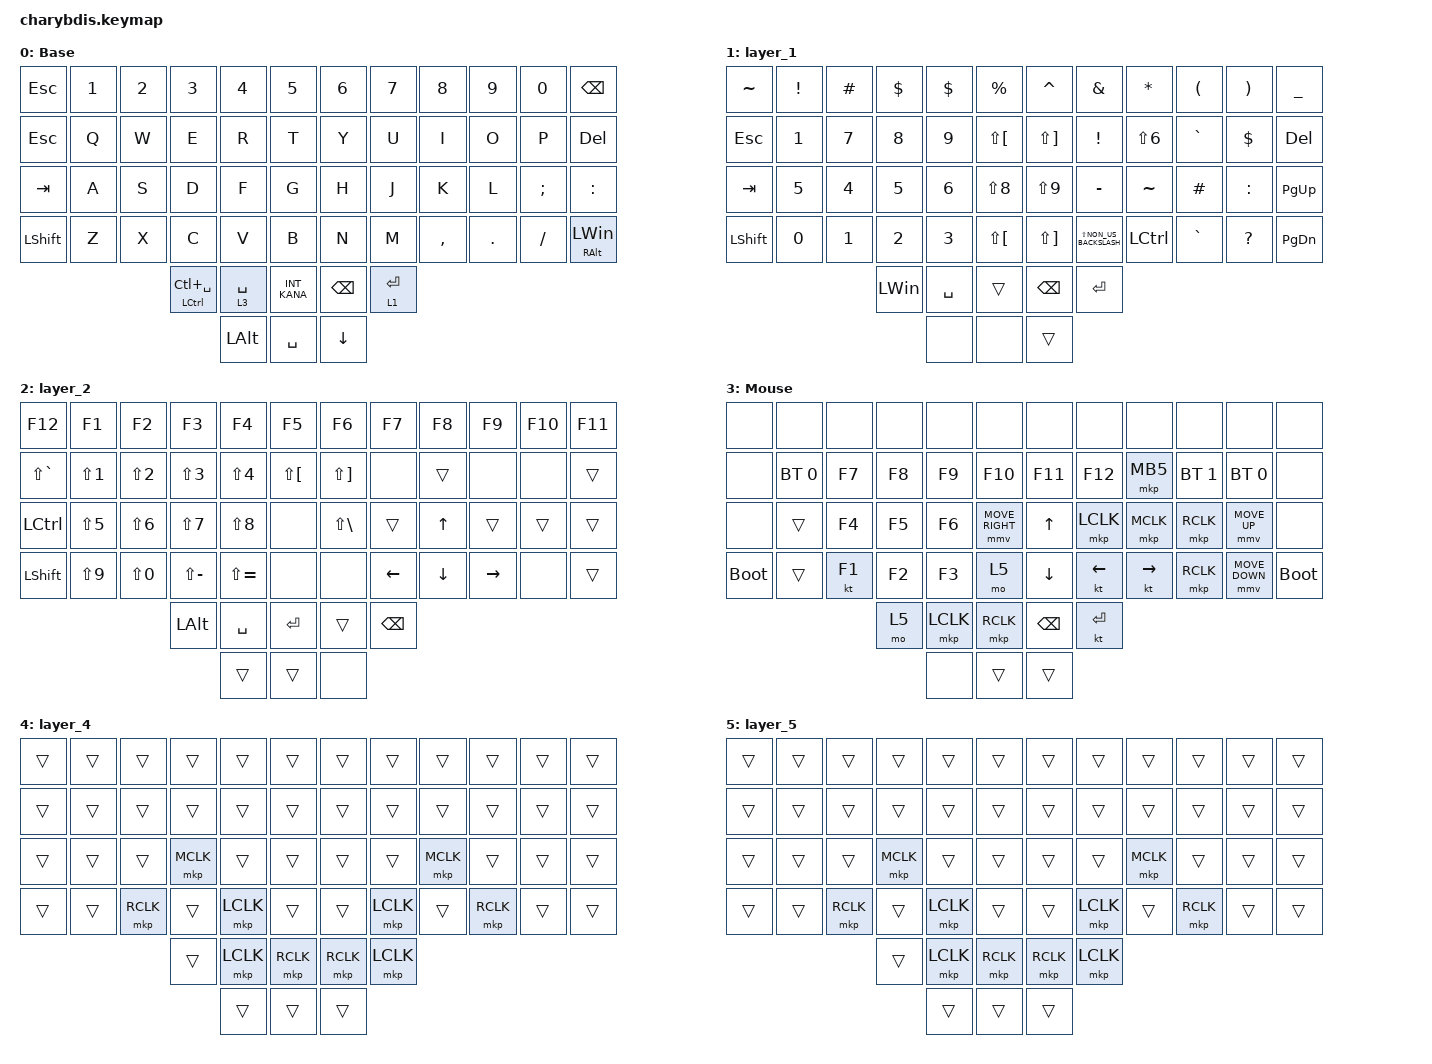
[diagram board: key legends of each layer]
#include <dt-bindings/zmk/mouse.h>
#include <behaviors.dtsi>
#include <dt-bindings/zmk/bt.h>
#include <dt-bindings/zmk/keys.h>

#define ZMK_POINTING_DEFAULT_MOVE_VAL 9000  // default: 600

&lt {
    tapping-term-ms = <200>;
    flavor = "balanced";
    quick-tap-ms = <150>;
};

/ {
    combos {
        compatible = "zmk,combos";

        escc {
            bindings = <&kp ESC>;
            key-positions = <17 18>;
            layers = <0>;
        };
    };

    keymap {
        compatible = "zmk,keymap";

        Base {
            bindings = <
&kp ESC         &kp N1  &kp N2  &kp N3               &kp N4        &kp N5          &kp N6          &kp N7       &kp N8     &kp N9   &kp N0     &kp BSPC
&kp ESCAPE      &kp Q   &kp W   &kp E                &kp R         &kp T           &kp Y           &kp U        &kp I      &kp O    &kp P      &kp DEL
&kp TAB         &kp A   &kp S   &kp D                &kp F         &kp G           &kp H           &kp J        &kp K      &kp L    &kp SEMI   &kp COLON
&kp LEFT_SHIFT  &kp Z   &kp X   &kp C                &kp V         &kp B           &kp N           &kp M        &kp COMMA  &kp DOT  &kp SLASH  &mt RIGHT_ALT LEFT_WIN
                                &mt LCTRL LC(SPACE)  &lt 3 SPACE   &kp INT_KANA    &kp BACKSPACE   &lt 1 ENTER
                                                     &kp LEFT_ALT  &kp SPACE       &kp DOWN_ARROW
            >;

            trackball-bindings = <&tmv_coarse>;
        };

        layer_1 {
            bindings = <
&kp TILDE   &kp EXCLAMATION  &kp HASH      &kp DOLLAR    &kp DOLLAR    &kp PERCENT             &kp CARET              &kp AMPERSAND             &kp ASTERISK      &kp LEFT_PARENTHESIS  &kp RIGHT_PARENTHESIS  &kp UNDERSCORE
&kp ESCAPE  &kp NUMBER_1     &kp NUMBER_7  &kp NUMBER_8  &kp NUMBER_9  &kp LS(LBKT)            &kp LS(RBKT)           &kp EXCLAMATION           &kp LS(NUMBER_6)  &kp GRAVE             &kp DOLLAR             &kp DEL
&kp TAB     &kp NUMBER_5     &kp NUMBER_4  &kp NUMBER_5  &kp NUMBER_6  &kp LS(N8)              &kp LS(NUMBER_9)       &kp MINUS                 &kp TILDE         &kp HASH              &kp COLON              &kp PAGE_UP
&kp LSHFT   &kp N0           &kp NUMBER_1  &kp NUMBER_2  &kp NUMBER_3  &kp LS(LEFT_BRACKET)    &kp LS(RIGHT_BRACKET)  &kp LS(NON_US_BACKSLASH)  &kp LCTRL         &kp GRAVE             &kp QUESTION           &kp PAGE_DOWN
                                           &kp LEFT_WIN  &kp SPACE     &trans                  &kp BACKSPACE          &kp ENTER
                                                         &none         &none                   &trans
            >;
        };

        layer_2 {
            bindings = <
&kp F12           &kp F1      &kp F2      &kp F3         &kp F4         &kp F5          &kp F6        &kp F7         &kp F8    &kp F9     &kp F10  &kp F11
&kp LS(GRAVE)     &kp LS(N1)  &kp LS(N2)  &kp LS(N3)     &kp LS(N4)     &kp LS(LBKT)    &kp LS(RBKT)  &none          &trans    &none      &none    &trans
&kp LEFT_CONTROL  &kp LS(N5)  &kp LS(N6)  &kp LS(N7)     &kp LS(N8)     &none           &kp LS(BSLH)  &trans         &kp UP    &trans     &trans   &trans
&kp LEFT_SHIFT    &kp LS(N9)  &kp LS(N0)  &kp LS(MINUS)  &kp LS(EQUAL)  &none           &none         &kp LEFT       &kp DOWN  &kp RIGHT  &none    &trans
                                          &kp LEFT_ALT   &kp SPACE      &kp ENTER       &trans        &kp BACKSPACE
                                                         &trans         &trans          &none
            >;
        };

        Mouse {
            bindings = <
&none        &none         &none   &none   &none      &none              &none          &none      &none      &none         &none           &none
&none        &bt BT_SEL 0  &kp F7  &kp F8  &kp F9     &kp F10            &kp F11        &kp F12    &mkp MB5   &bt BT_SEL 1  &bt BT_SEL 0    &none
&none        &trans        &kp F4  &kp F5  &kp F6     &mmv MOVE_RIGHT    &kp UP         &mkp LCLK  &mkp MCLK  &mkp RCLK     &mmv MOVE_UP    &none
&bootloader  &trans        &kt F1  &kp F2  &kp F3     &mo 5              &kp DOWN       &kt LEFT   &kt RIGHT  &mkp RCLK     &mmv MOVE_DOWN  &bootloader
                                   &mo 5   &mkp LCLK  &mkp RCLK          &kp BACKSPACE  &kt ENTER
                                           &none      &trans             &trans
            >;
        };

        layer_4 {
            bindings = <
&trans  &trans  &trans     &trans     &trans     &trans       &trans     &trans     &trans     &trans     &trans  &trans
&trans  &trans  &trans     &trans     &trans     &trans       &trans     &trans     &trans     &trans     &trans  &trans
&trans  &trans  &trans     &mkp MCLK  &trans     &trans       &trans     &trans     &mkp MCLK  &trans     &trans  &trans
&trans  &trans  &mkp RCLK  &trans     &mkp LCLK  &trans       &trans     &mkp LCLK  &trans     &mkp RCLK  &trans  &trans
                           &trans     &mkp LCLK  &mkp RCLK    &mkp RCLK  &mkp LCLK
                                      &trans     &trans       &trans
            >;

            trackball-bindings = <&tsl>;//滚轮层
        };

        layer_5 {
            bindings = <
&trans  &trans  &trans     &trans     &trans     &trans       &trans     &trans     &trans     &trans     &trans  &trans
&trans  &trans  &trans     &trans     &trans     &trans       &trans     &trans     &trans     &trans     &trans  &trans
&trans  &trans  &trans     &mkp MCLK  &trans     &trans       &trans     &trans     &mkp MCLK  &trans     &trans  &trans
&trans  &trans  &mkp RCLK  &trans     &mkp LCLK  &trans       &trans     &mkp LCLK  &trans     &mkp RCLK  &trans  &trans
                           &trans     &mkp LCLK  &mkp RCLK    &mkp RCLK  &mkp LCLK
                                      &trans     &trans       &trans
            >;

            trackball-bindings = <&tmv_fine>;//精准指针层
        };
    };
};
